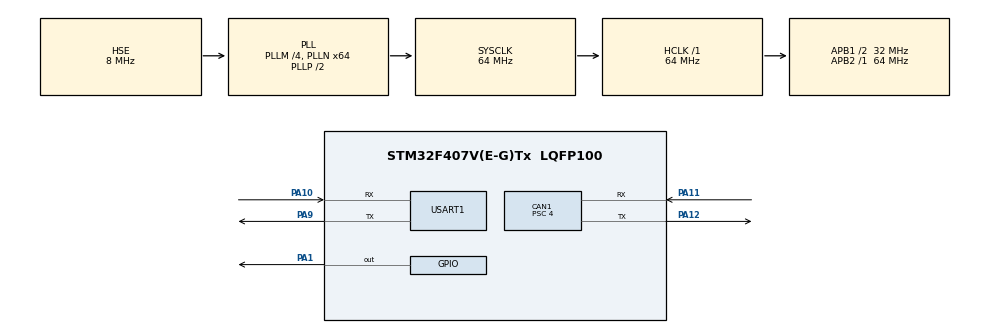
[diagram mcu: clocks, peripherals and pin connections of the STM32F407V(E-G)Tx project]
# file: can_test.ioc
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CAN1.ABOM=ENABLE
CAN1.BS1=CAN_BS1_13TQ
CAN1.BS2=CAN_BS2_2TQ
CAN1.CalculateBaudRate=500000
CAN1.CalculateTimeBit=2000.00
CAN1.CalculateTimeQuantum=125.0
CAN1.Mode=CAN_MODE_SILENT_LOOPBACK
CAN1.NART=DISABLE
CAN1.Prescaler=4
CAN1.TXFP=ENABLE
Mcu.Family=STM32F4
Mcu.Name=STM32F407V(E-G)Tx
Mcu.Package=LQFP100
NVIC.CAN1_RX0_IRQn=true\:0\:0\:false\:false\:true\:true\:true
NVIC.CAN1_SCE_IRQn=true\:0\:0\:false\:false\:true\:true\:true
NVIC.CAN1_TX_IRQn=true\:0\:0\:false\:false\:true\:true\:true
NVIC.PriorityGroup=NVIC_PRIORITYGROUP_4
PA1.GPIO_PuPd=GPIO_PULLDOWN
PA1.Signal=GPIO_Output
PA10.Mode=Asynchronous
PA10.Signal=USART1_RX
PA11.Mode=CAN_Activate
PA11.Signal=CAN1_RX
PA12.Mode=CAN_Activate
PA12.Signal=CAN1_TX
PA9.Mode=Asynchronous
PA9.Signal=USART1_TX
PH0-OSC_IN.Mode=HSE-External-Oscillator
PH0-OSC_IN.Signal=RCC_OSC_IN
PH1-OSC_OUT.Mode=HSE-External-Oscillator
PH1-OSC_OUT.Signal=RCC_OSC_OUT
ProjectManager.HeapSize=0x200
ProjectManager.StackSize=0x400
ProjectManager.TargetToolchain=STM32CubeIDE
RCC.48MHZClocksFreq_Value=32000000
RCC.AHBFreq_Value=64000000
RCC.APB1CLKDivider=RCC_HCLK_DIV2
RCC.APB1Freq_Value=32000000
RCC.APB1TimFreq_Value=64000000
RCC.APB2Freq_Value=64000000
RCC.APB2TimFreq_Value=64000000
RCC.CortexFreq_Value=64000000
RCC.HCLKFreq_Value=64000000
RCC.HSE_VALUE=8000000
RCC.HSI_VALUE=16000000
RCC.LSE_VALUE=32768
RCC.PLLM=4
RCC.PLLN=64
RCC.PLLSourceVirtual=RCC_PLLSOURCE_HSE
RCC.SYSCLKFreq_VALUE=64000000
RCC.SYSCLKSource=RCC_SYSCLKSOURCE_PLLCLK
RCC.VCOOutputFreq_Value=128000000
USART1.VirtualMode=VM_ASYNC
board=custom

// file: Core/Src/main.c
/* USER CODE BEGIN Header */
/**
  ******************************************************************************
  * @file           : main.c
  * @brief          : Main program body
  ******************************************************************************
  * @attention
  *
  * <h2><center>&copy; Copyright (c) 2021 STMicroelectronics.
  * All rights reserved.</center></h2>
  *
  * This software component is licensed by ST under BSD 3-Clause license,
  * the "License"; You may not use this file except in compliance with the
  * License. You may obtain a copy of the License at:
  *                        opensource.org/licenses/BSD-3-Clause
  *
  ******************************************************************************
  */
/* USER CODE END Header */
#include "main.h"

CAN_HandleTypeDef hcan1;

UART_HandleTypeDef huart1;

/* USER CODE BEGIN PV */

CAN_TxHeaderTypeDef TxHeader, TxHeader2;
CAN_RxHeaderTypeDef RxHeader;
uint8_t TxData[8] = {0,};
uint8_t RxData[8] = {0,};
uint32_t TxMailbox = 0;

/* USER CODE END PV */

void SystemClock_Config(void);
static void MX_GPIO_Init(void);
static void MX_CAN1_Init(void);
static void MX_USART1_UART_Init(void);

/* USER CODE BEGIN 0 */
HAL_CAN_RxFifo0MsgPendingCallback(CAN_HandleTypeDef *hcan)
{
	char trans_str[20] = "\0";
    if(HAL_CAN_GetRxMessage(hcan, CAN_RX_FIFO0, &RxHeader, RxData) == HAL_OK)
    {
        HAL_GPIO_TogglePin(GPIOA, GPIO_PIN_1);

		snprintf(trans_str, 128, "ID %04lX %d\n", RxHeader.StdId, RxData[0]);
		HAL_UART_Transmit(&huart1, (uint8_t*)trans_str, strlen(trans_str), 100);

    }

}
void HAL_CAN_ErrorCallback(CAN_HandleTypeDef *hcan)
{
	char trans_str[20] = "\0";
    uint32_t er = HAL_CAN_GetError(hcan);

    sprintf(trans_str, "ER CAN %lu %08lX", er, er);
    HAL_UART_Transmit(&huart1, (uint8_t*)trans_str, strlen(trans_str), 100);
}
/* USER CODE END 0 */

int main(void)
{

  /* MCU Configuration--------------------------------------------------------*/

  /* Reset of all peripherals, Initializes the Flash interface and the Systick. */
  HAL_Init();

  /* Configure the system clock */
  SystemClock_Config();

  /* Initialize all configured peripherals */
	MX_GPIO_Init();
	MX_CAN1_Init();
	MX_USART1_UART_Init();
	/* USER CODE BEGIN 2 */
	TxHeader.StdId = 0x0178;
	TxHeader.ExtId = 0;
	TxHeader.RTR = CAN_RTR_DATA; //CAN_RTR_REMOTE
	TxHeader.IDE = CAN_ID_STD;   // CAN_ID_EXT
	TxHeader.DLC = 8;
	TxHeader.TransmitGlobalTime = 0;

	TxHeader2.StdId = 0x0333;
	TxHeader2.ExtId = 0;
	TxHeader2.RTR = CAN_RTR_DATA; //CAN_RTR_REMOTE
	TxHeader2.IDE = CAN_ID_STD;   // CAN_ID_EXT
	TxHeader2.DLC = 8;
	TxHeader2.TransmitGlobalTime = 0;

	for(uint8_t i = 0; i < 8; i++)
	{
	    TxData[i] = (i + 10);
	}

	HAL_CAN_Start(&hcan1);

	HAL_CAN_ActivateNotification(&hcan1, CAN_IT_RX_FIFO0_MSG_PENDING | CAN_IT_ERROR | CAN_IT_BUSOFF | CAN_IT_LAST_ERROR_CODE);

  /* USER CODE END 2 */

  /* Infinite loop */
  /* USER CODE BEGIN WHILE */
  while (1)
  {
		HAL_CAN_AddTxMessage(&hcan1, &TxHeader, TxData, &TxMailbox);

		HAL_CAN_AddTxMessage(&hcan1, &TxHeader2, TxData, &TxMailbox);
		//while(HAL_CAN_GetTxMailboxesFreeLevel(&hcan1) == 0);

		if(HAL_CAN_AddTxMessage(&hcan1, &TxHeader, TxData, &TxMailbox) != HAL_OK)
		{
			  HAL_UART_Transmit(&huart1, (uint8_t*)"ER SEND\n", 8, 100);
		}

		HAL_Delay(500);

    /* USER CODE END WHILE */

  }
}

void SystemClock_Config(void)
{
  RCC_OscInitTypeDef RCC_OscInitStruct = {0};
  RCC_ClkInitTypeDef RCC_ClkInitStruct = {0};

  /** Configure the main internal regulator output voltage
  */
  __HAL_RCC_PWR_CLK_ENABLE();
  __HAL_PWR_VOLTAGESCALING_CONFIG(PWR_REGULATOR_VOLTAGE_SCALE1);
  /** Initializes the RCC Oscillators according to the specified parameters
  * in the RCC_OscInitTypeDef structure.
  */
  RCC_OscInitStruct.OscillatorType = RCC_OSCILLATORTYPE_HSE;
  RCC_OscInitStruct.HSEState = RCC_HSE_ON;
  RCC_OscInitStruct.PLL.PLLState = RCC_PLL_ON;
  RCC_OscInitStruct.PLL.PLLSource = RCC_PLLSOURCE_HSE;
  RCC_OscInitStruct.PLL.PLLM = 4;
  RCC_OscInitStruct.PLL.PLLN = 64;
  RCC_OscInitStruct.PLL.PLLP = RCC_PLLP_DIV2;
  RCC_OscInitStruct.PLL.PLLQ = 4;
  if (HAL_RCC_OscConfig(&RCC_OscInitStruct) != HAL_OK)
  {
    Error_Handler();
  }
  /** Initializes the CPU, AHB and APB buses clocks
  */
  RCC_ClkInitStruct.ClockType = RCC_CLOCKTYPE_HCLK|RCC_CLOCKTYPE_SYSCLK
                              |RCC_CLOCKTYPE_PCLK1|RCC_CLOCKTYPE_PCLK2;
  RCC_ClkInitStruct.SYSCLKSource = RCC_SYSCLKSOURCE_PLLCLK;
  RCC_ClkInitStruct.AHBCLKDivider = RCC_SYSCLK_DIV1;
  RCC_ClkInitStruct.APB1CLKDivider = RCC_HCLK_DIV2;
  RCC_ClkInitStruct.APB2CLKDivider = RCC_HCLK_DIV1;

  if (HAL_RCC_ClockConfig(&RCC_ClkInitStruct, FLASH_LATENCY_2) != HAL_OK)
  {
    Error_Handler();
  }
}

static void MX_CAN1_Init(void)
{

	hcan1.Instance = CAN1;
	hcan1.Init.Prescaler = 4;
	hcan1.Init.Mode = CAN_MODE_SILENT_LOOPBACK;
	hcan1.Init.SyncJumpWidth = CAN_SJW_1TQ;
	hcan1.Init.TimeSeg1 = CAN_BS1_13TQ;
	hcan1.Init.TimeSeg2 = CAN_BS2_2TQ;
	hcan1.Init.TimeTriggeredMode = DISABLE;
	hcan1.Init.AutoBusOff = ENABLE;
	hcan1.Init.AutoWakeUp = DISABLE;
	hcan1.Init.AutoRetransmission = DISABLE;
	hcan1.Init.ReceiveFifoLocked = DISABLE;
	hcan1.Init.TransmitFifoPriority = ENABLE;
	if (HAL_CAN_Init(&hcan1) != HAL_OK)
	{
		Error_Handler();
	}
	/* USER CODE BEGIN CAN1_Init 2 */
	CAN_FilterTypeDef  sFilterConfig;
	sFilterConfig.FilterBank = 0;
	sFilterConfig.FilterMode = CAN_FILTERMODE_IDLIST;
	sFilterConfig.FilterScale = CAN_FILTERSCALE_32BIT;
	sFilterConfig.FilterIdHigh = 0x0178 << 5;
	sFilterConfig.FilterIdLow = 0x0000;
	sFilterConfig.FilterMaskIdHigh = 0x0000;
	sFilterConfig.FilterMaskIdLow = 0x0000;
	sFilterConfig.FilterFIFOAssignment = CAN_RX_FIFO0;
	sFilterConfig.FilterActivation = ENABLE;
	sFilterConfig.SlaveStartFilterBank = 14;
	if(HAL_CAN_ConfigFilter(&hcan1, &sFilterConfig) != HAL_OK)
	{
		Error_Handler();
	}
	/* USER CODE END CAN1_Init 2 */
}

static void MX_USART1_UART_Init(void)
{

  huart1.Instance = USART1;
  huart1.Init.BaudRate = 115200;
  huart1.Init.WordLength = UART_WORDLENGTH_8B;
  huart1.Init.StopBits = UART_STOPBITS_1;
  huart1.Init.Parity = UART_PARITY_NONE;
  huart1.Init.Mode = UART_MODE_TX_RX;
  huart1.Init.HwFlowCtl = UART_HWCONTROL_NONE;
  huart1.Init.OverSampling = UART_OVERSAMPLING_16;
  if (HAL_UART_Init(&huart1) != HAL_OK)
  {
    Error_Handler();
  }

}

static void MX_GPIO_Init(void)
{
  GPIO_InitTypeDef GPIO_InitStruct = {0};

  /* GPIO Ports Clock Enable */
  __HAL_RCC_GPIOH_CLK_ENABLE();
  __HAL_RCC_GPIOA_CLK_ENABLE();

  /*Configure GPIO pin Output Level */
  HAL_GPIO_WritePin(GPIOA, GPIO_PIN_1, GPIO_PIN_RESET);

  /*Configure GPIO pin : PA1 */
  GPIO_InitStruct.Pin = GPIO_PIN_1;
  GPIO_InitStruct.Mode = GPIO_MODE_OUTPUT_PP;
  GPIO_InitStruct.Pull = GPIO_PULLDOWN;
  GPIO_InitStruct.Speed = GPIO_SPEED_FREQ_LOW;
  HAL_GPIO_Init(GPIOA, &GPIO_InitStruct);

}

void Error_Handler(void)
{
  __disable_irq();
  while (1)
  {
  }
}

/************************ (C) COPYRIGHT STMicroelectronics *****END OF FILE****/
